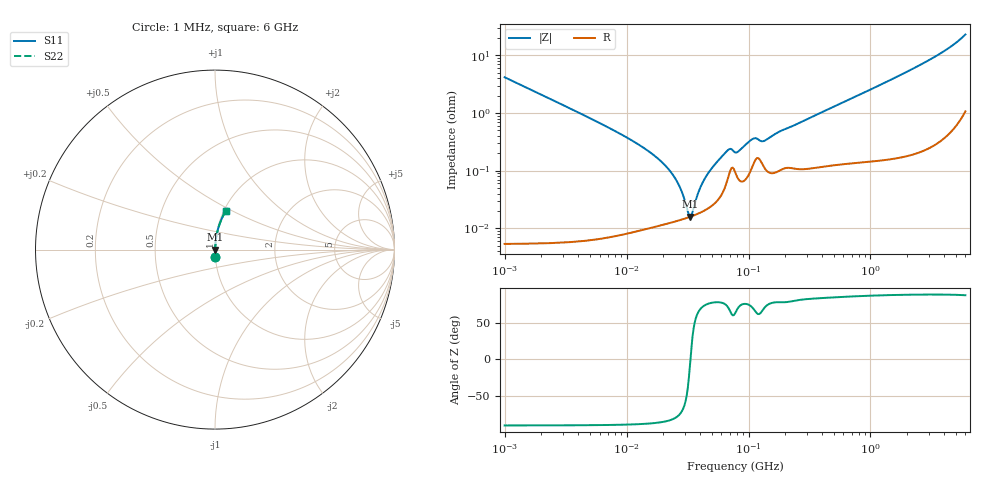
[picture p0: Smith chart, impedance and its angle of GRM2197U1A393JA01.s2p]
!Murata Part Number: GRM2197U1A393JA01
!These Parameters are Measured in Series Mode Connection
!Data Generated on Mar 30, 2021
!  o--ll--o
!Port1  Port2
!  o------o
!Operation Temp=25[degC], DC Bias Voltage=0[V]
!Freq. Start=1000[kHz] Stop=6[GHz] 401[Steps]
# Hz S RI R 50
!Freq.(Hz) S11(Real) S11(Imag) S21(Real) S21(Imag) S12(Real) S12(Imag) S22(Real) S22(Imag)
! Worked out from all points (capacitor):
!   401 points, 1 MHz to 6 GHz, reference 50 ohm
!   read as one part in series: C = 38.1 nF near 1.044 MHz
!   lowest |Z| = 15.9 mohm at 33.17 MHz (marker M1)
!   series resonance near 33.38 MHz, so ESL is about 600 pH
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1000000  0.00179 -0.0416  0.9982 0.0416  0.9982 0.0416  0.00179 -0.0416
4293785  0.000151 -0.00955  0.9998 0.00955  0.9998 0.00955  0.000151 -0.00955
1.093935e7  9.57e-05 -0.00339  0.9999 0.00339  0.9999 0.00339  9.57e-05 -0.00339
1.843659e7  0.000113 -0.00156  0.9999 0.00156  0.9999 0.00156  0.000113 -0.00156
2.194036e7  0.000123 -0.00107  0.9999 0.00107  0.9999 0.00107  0.000123 -0.00107
2.554826e7  0.000133 -0.000673  0.9999 0.000673  0.9999 0.000673  0.000133 -0.000673
2.848316e7  0.000143 -0.000397  0.9999 0.000397  0.9999 0.000397  0.000143 -0.000397
3.175522e7  0.000153 -0.000125  0.9998 0.000125  0.9998 0.000125  0.000153 -0.000125
3.316698e7  0.000159 -1.62e-05  0.9998 1.62e-05  0.9998 1.62e-05  0.000159 -1.62e-05
3.46415e7  0.000164 9.29e-05  0.9998 -9.29e-05  0.9998 -9.29e-05  0.000164 9.29e-05
3.8621e7  0.00018 0.000369  0.9998 -0.000369  0.9998 -0.000369  0.00018 0.000369
4.12249e7  0.000192 0.000539  0.9998 -0.000539  0.9998 -0.000539  0.000192 0.000539
4.800399e7  0.000232 0.000957  0.9998 -0.000957  0.9998 -0.000957  0.000232 0.000957
6.798347e7  0.000758 0.00216  0.9992 -0.00216  0.9992 -0.00216  0.000758 0.00216
7.745967e7  0.000961 0.00184  0.999 -0.00184  0.999 -0.00184  0.000961 0.00184
8.268215e7  0.000714 0.00204  0.9993 -0.00204  0.9993 -0.00204  0.000714 0.00204
1.073387e8  0.00117 0.00331  0.9988 -0.00331  0.9988 -0.00331  0.00117 0.00331
1.363501e8  0.00109 0.00315  0.9989 -0.00315  0.9989 -0.00315  0.00109 0.00315
3.325952e8  0.00117 0.00853  0.9988 -0.00853  0.9988 -0.00853  0.00117 0.00853
1.428092e9  0.0029 0.0365  0.9971 -0.0365  0.9971 -0.0365  0.0029 0.0365
3.483508e9  0.0124 0.0969  0.9876 -0.0969  0.9876 -0.0969  0.0124 0.0969
6e9  0.0592 0.2139  0.9408 -0.2139  0.9408 -0.2139  0.0592 0.2139
